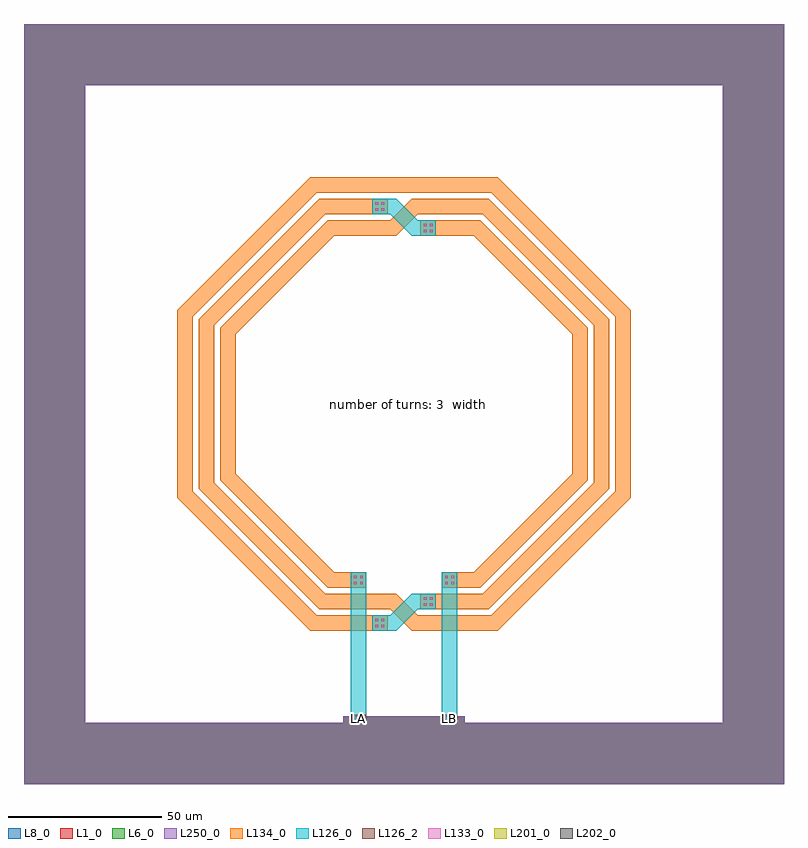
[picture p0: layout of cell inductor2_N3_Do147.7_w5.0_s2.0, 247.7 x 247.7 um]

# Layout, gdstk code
import gdstk
lib = gdstk.Library(unit=1e-6, precision=1e-09)
def R(c, l, rs):  # rectangles x0, y0, x1, y1
    for r in rs: c.add(gdstk.rectangle(r[:2], r[2:], *l))
def P(c, l, *ps):  # polygons
    for p in ps: c.add(gdstk.Polygon(p, *l))
L1_0 = (1, 0)
L6_0 = (6, 0)
L8_0 = (8, 0)
L126_0 = (126, 0)
L126_2 = (126, 2)
L133_0 = (133, 0)
L134_0 = (134, 0)
L201_0 = (201, 0)
L202_0 = (202, 0)
L250_0 = (250, 0)

inductor2_n3_do147_7_w5_ = lib.new_cell('inductor2_N3_Do147.7_w5.0_s2.0')
P(inductor2_n3_do147_7_w5_, L1_0, [(-123.85,103.85),(-103.85,103.85),(103.85,103.85),(103.85,-103.85),(19.87,-103.85),(19.87,-101.85),(-19.87,-101.85),(-19.87,-103.85),(-103.85,-103.85),(-103.85,103.85),(-123.85,103.85),(-123.85,-123.85),(123.85,-123.85),(123.85,123.85),(-123.85,123.85)])
P(inductor2_n3_do147_7_w5_, L6_0, [(-123.85,103.85),(-103.85,103.85),(103.85,103.85),(103.85,-103.85),(19.87,-103.85),(19.87,-101.85),(-19.87,-101.85),(-19.87,-103.85),(-103.85,-103.85),(-103.85,103.85),(-123.85,103.85),(-123.85,-123.85),(123.85,-123.85),(123.85,123.85),(-123.85,123.85)])
P(inductor2_n3_do147_7_w5_, L8_0, [(-123.85,103.85),(-103.85,103.85),(103.85,103.85),(103.85,-103.85),(19.87,-103.85),(19.87,-101.85),(-19.87,-101.85),(-19.87,-103.85),(-103.85,-103.85),(-103.85,103.85),(-123.85,103.85),(-123.85,-123.85),(123.85,-123.85),(123.85,123.85),(-123.85,123.85)])
R(inductor2_n3_do147_7_w5_, L126_0, [(-17.37,-103.85,-12.36,-54.85), (12.36,-103.85,17.37,-54.85)])
P(inductor2_n3_do147_7_w5_, L126_0, [(-10.36,-68.85),(-10.36,-73.85),(-2.46,-73.85),(4.54,-66.85),(10.36,-66.85),(10.36,-61.85),(2.46,-61.85),(-4.54,-68.85)],
  [(-10.36,66.85),(-10.36,61.85),(-4.54,61.85),(2.46,54.85),(10.36,54.85),(10.36,59.85),(4.54,59.85),(-2.46,66.85)])
R(inductor2_n3_do147_7_w5_, L126_2, [(-17.37,-103.85,-12.36,-101.35), (12.36,-103.85,17.37,-101.35)])
R(inductor2_n3_do147_7_w5_, L133_0, [(-9.3,-72.78,-8.4,-71.88), (-7.34,-72.78,-6.44,-71.88), (-9.3,-70.82,-8.4,-69.92), (-7.34,-70.82,-6.44,-69.92), (6.44,-65.78,7.34,-64.88), (8.4,-65.78,9.3,-64.88), (6.44,-63.82,7.34,-62.92), (8.4,-63.82,9.3,-62.92), (-16.3,-58.78,-15.4,-57.88), (-14.34,-58.78,-13.44,-57.88), (13.44,-58.78,14.34,-57.88), (15.4,-58.78,16.3,-57.88), (-16.3,-56.82,-15.4,-55.92), (-14.34,-56.82,-13.44,-55.92), (13.44,-56.82,14.34,-55.92), (15.4,-56.82,16.3,-55.92), (6.44,55.92,7.34,56.82), (8.4,55.92,9.3,56.82), (6.44,57.88,7.34,58.78), (8.4,57.88,9.3,58.78), (-9.3,62.92,-8.4,63.82), (-7.34,62.92,-6.44,63.82), (-9.3,64.88,-8.4,65.78), (-7.34,64.88,-6.44,65.78)])
R(inductor2_n3_do147_7_w5_, L134_0, [(-10.36,68.85,10.36,73.85)])
P(inductor2_n3_do147_7_w5_, L134_0, [(-5.36,-73.85),(-5.36,-68.85),(-28.51,-68.85),(-68.85,-28.51),(-68.85,5),(-73.85,5),(-73.85,-30.59),(-30.59,-73.85)],
  [(-5.36,68.85),(-5.36,73.85),(-30.59,73.85),(-73.85,30.59),(-73.85,-5),(-68.85,-5),(-68.85,28.51),(-28.51,68.85)],
  [(5.36,-68.85),(5.36,-73.85),(30.59,-73.85),(73.85,-30.59),(73.85,5),(68.85,5),(68.85,-28.51),(28.51,-68.85)],
  [(5.36,73.85),(5.36,68.85),(28.51,68.85),(68.85,28.51),(68.85,-5),(73.85,-5),(73.85,30.59),(30.59,73.85)],
  [(-5.36,-66.85),(-5.36,-61.85),(-25.61,-61.85),(-61.85,-25.61),(-61.85,5),(-66.85,5),(-66.85,-27.69),(-27.69,-66.85)],
  [(-5.36,61.85),(-5.36,66.85),(-27.69,66.85),(-66.85,27.69),(-66.85,-5),(-61.85,-5),(-61.85,25.61),(-25.61,61.85)],
  [(5.36,-61.85),(5.36,-66.85),(27.69,-66.85),(66.85,-27.69),(66.85,5),(61.85,5),(61.85,-25.61),(25.61,-61.85)],
  [(5.36,66.85),(5.36,61.85),(25.61,61.85),(61.85,25.61),(61.85,-5),(66.85,-5),(66.85,27.69),(27.69,66.85)],
  [(-12.36,-59.85),(-12.36,-54.85),(-22.72,-54.85),(-54.85,-22.72),(-54.85,5),(-59.85,5),(-59.85,-24.8),(-24.8,-59.85)],
  [(-5.36,54.85),(-5.36,59.85),(-24.8,59.85),(-59.85,24.8),(-59.85,-5),(-54.85,-5),(-54.85,22.72),(-22.72,54.85)],
  [(12.36,-54.85),(12.36,-59.85),(24.8,-59.85),(59.85,-24.8),(59.85,5),(54.85,5),(54.85,-22.72),(22.72,-54.85)],
  [(5.36,59.85),(5.36,54.85),(22.72,54.85),(54.85,22.72),(54.85,-5),(59.85,-5),(59.85,24.8),(24.8,59.85)],
  [(-10.36,-61.85),(-10.36,-66.85),(-4.54,-66.85),(2.46,-73.85),(10.36,-73.85),(10.36,-68.85),(4.54,-68.85),(-2.46,-61.85)],
  [(-10.36,59.85),(-10.36,54.85),(-2.46,54.85),(4.54,61.85),(10.36,61.85),(10.36,66.85),(2.46,66.85),(-4.54,59.85)])
R(inductor2_n3_do147_7_w5_, L201_0, [(-17.37,-103.85,-12.36,-103.75)])
R(inductor2_n3_do147_7_w5_, L202_0, [(12.36,-103.85,17.37,-103.75)])
P(inductor2_n3_do147_7_w5_, L250_0, [(-123.85,103.85),(-103.85,103.85),(103.85,103.85),(103.85,-103.85),(19.87,-103.85),(19.87,-101.85),(-19.87,-101.85),(-19.87,-103.85),(-103.85,-103.85),(-103.85,103.85),(-123.85,103.85),(-123.85,-123.85),(123.85,-123.85),(123.85,123.85),(-123.85,123.85)])
inductor2_n3_do147_7_w5_.add(gdstk.Label('LA', (-14.865,-102.6), layer=27, texttype=25))
inductor2_n3_do147_7_w5_.add(gdstk.Label('LB', (14.865,-102.6), layer=27, texttype=25))
inductor2_n3_do147_7_w5_.add(gdstk.Label('  number of turns: 3\n  width: 5.00\n  spacing: 2.00\n  outer diameter: 147.70\n  inner diameter: 109.70\n', (0,0), layer=63, texttype=0))

lib.write_gds('inductor2_N3_Do147.7_w5.0_s2.0.gds')
